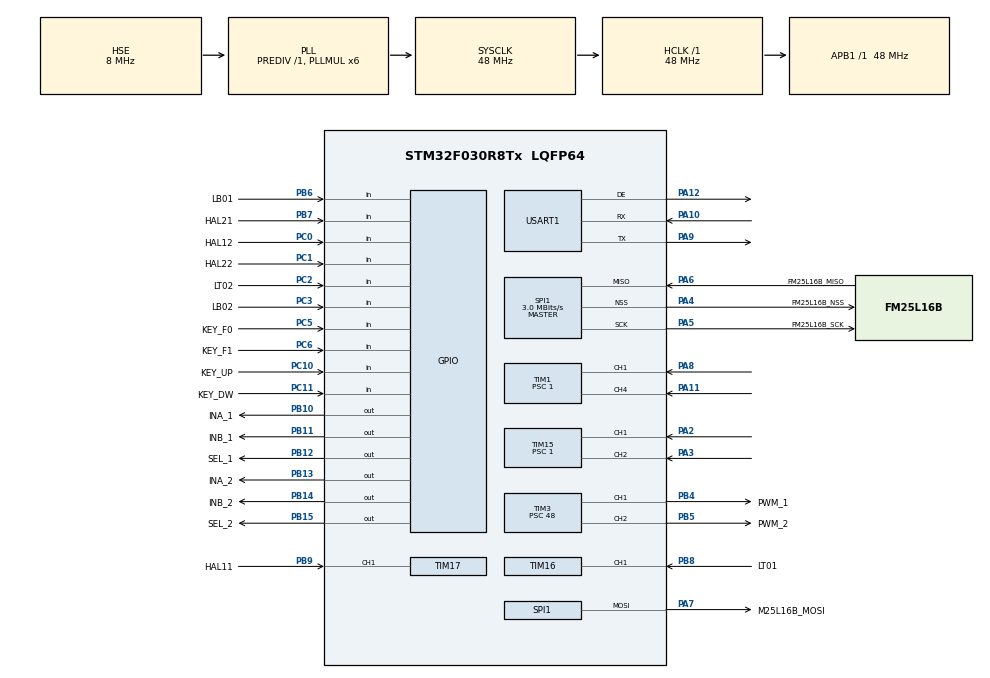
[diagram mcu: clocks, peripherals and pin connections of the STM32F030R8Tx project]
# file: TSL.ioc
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Mcu.Family=STM32F0
Mcu.Name=STM32F030R8Tx
Mcu.Package=LQFP64
NVIC.RCC_IRQn=true\:0\:0\:false\:false\:true\:true\:false
NVIC.TIM14_IRQn=true\:0\:0\:false\:false\:true\:true\:true
NVIC.TIM15_IRQn=true\:0\:0\:false\:false\:true\:true\:true
NVIC.TIM16_IRQn=true\:0\:0\:false\:false\:true\:true\:true
NVIC.TIM17_IRQn=true\:0\:0\:false\:false\:true\:true\:true
NVIC.TIM1_CC_IRQn=true\:0\:0\:false\:false\:true\:true\:true
NVIC.TIM3_IRQn=true\:0\:0\:false\:false\:true\:true\:true
NVIC.TIM6_IRQn=true\:0\:0\:false\:false\:true\:true\:true
PA10.Mode=Asynchronous
PA10.Signal=USART1_RX
PA11.Signal=S_TIM1_CH4
PA12.Mode=Hardware Flow Control (RS485)
PA12.Signal=USART1_DE
PA13.Mode=Serial_Wire
PA13.Signal=SYS_SWDIO
PA14.Mode=Serial_Wire
PA14.Signal=SYS_SWCLK
PA2.Signal=S_TIM15_CH1
PA3.Signal=S_TIM15_CH2
PA4.GPIO_Label=FM25L16B_NSS
PA4.Mode=NSS_Signal_Hard_Output
PA4.Signal=SPI1_NSS
PA5.GPIO_Label=FM25L16B_SCK
PA5.Mode=Full_Duplex_Master
PA5.Signal=SPI1_SCK
PA6.GPIO_Label=FM25L16B_MISO
PA6.Mode=Full_Duplex_Master
PA6.Signal=SPI1_MISO
PA7.GPIO_Label=M25L16B_MOSI
PA7.Mode=Full_Duplex_Master
PA7.Signal=SPI1_MOSI
PA8.Signal=S_TIM1_CH1
PA9.Mode=Asynchronous
PA9.Signal=USART1_TX
PB10.GPIO_Label=INA_1
PB10.Signal=GPIO_Output
PB11.GPIO_Label=INB_1
PB11.Signal=GPIO_Output
PB12.GPIO_Label=SEL_1
PB12.Signal=GPIO_Output
PB13.GPIO_Label=INA_2
PB13.Signal=GPIO_Output
PB14.GPIO_Label=INB_2
PB14.Signal=GPIO_Output
PB15.GPIO_Label=SEL_2
PB15.Signal=GPIO_Output
PB4.GPIO_Label=PWM_1
PB4.Signal=S_TIM3_CH1
PB5.GPIO_Label=PWM_2
PB5.Signal=S_TIM3_CH2
PB6.GPIO_Label=LB01
PB6.Signal=GPIO_Input
PB7.GPIO_Label=HAL21
PB7.Signal=GPIO_Input
PB8.GPIO_Label=LT01
PB8.Signal=S_TIM16_CH1
PB9.GPIO_Label=HAL11
PB9.Signal=S_TIM17_CH1
PC0.GPIO_Label=HAL12
PC0.Signal=GPIO_Input
PC1.GPIO_Label=HAL22
PC1.Signal=GPIO_Input
PC10.GPIO_Label=KEY_UP
PC10.Signal=GPIO_Input
PC11.GPIO_Label=KEY_DW
PC11.Signal=GPIO_Input
PC2.GPIO_Label=LT02
PC2.Signal=GPIO_Input
PC3.GPIO_Label=LB02
PC3.Signal=GPIO_Input
PC5.GPIO_Label=KEY_F0
PC5.Signal=GPIO_Input
PC6.GPIO_Label=KEY_F1
PC6.Signal=GPIO_Input
PF0-OSC_IN.Mode=HSE-External-Oscillator
PF0-OSC_IN.Signal=RCC_OSC_IN
PF1-OSC_OUT.Mode=HSE-External-Oscillator
PF1-OSC_OUT.Signal=RCC_OSC_OUT
ProjectManager.HeapSize=0x200
ProjectManager.StackSize=0x400
ProjectManager.TargetToolchain=STM32CubeIDE
RCC.AHBFreq_Value=48000000
RCC.APB1Freq_Value=48000000
RCC.APB1TimFreq_Value=48000000
RCC.HCLKFreq_Value=48000000
RCC.PLLMUL=RCC_PLL_MUL6
RCC.PLLSourceVirtual=RCC_PLLSOURCE_HSE
RCC.SYSCLKFreq_VALUE=48000000
RCC.SYSCLKSource=RCC_SYSCLKSOURCE_PLLCLK
SH.S_TIM15_CH1.0=TIM15_CH1,Input_Capture1_from_TI1
SH.S_TIM15_CH2.0=TIM15_CH2,Input_Capture2_from_TI2
SH.S_TIM16_CH1.0=TIM16_CH1,Input_Capture1_from_TI1
SH.S_TIM17_CH1.0=TIM17_CH1,Input_Capture1_from_TI1
SH.S_TIM1_CH1.0=TIM1_CH1,Input_Capture1_from_TI1
SH.S_TIM1_CH4.0=TIM1_CH4,Input_Capture4_from_TI4
SH.S_TIM3_CH1.0=TIM3_CH1,PWM Generation1 CH1
SH.S_TIM3_CH2.0=TIM3_CH2,PWM Generation2 CH2
SPI1.BaudRatePrescaler=SPI_BAUDRATEPRESCALER_16
SPI1.CalculateBaudRate=3.0 MBits/s
SPI1.Direction=SPI_DIRECTION_2LINES
SPI1.Mode=SPI_MODE_MASTER
SPI1.VirtualNSS=VM_NSSHARD
SPI1.VirtualType=VM_MASTER
TIM1.Channel-Input_Capture1_from_TI1=TIM_CHANNEL_1
TIM1.Channel-Input_Capture4_from_TI4=TIM_CHANNEL_4
TIM1.Period=65535
TIM1.Prescaler=1
TIM14.Period=10-1
TIM14.Prescaler=48
TIM15.Channel-Input_Capture1_from_TI1=TIM_CHANNEL_1
TIM15.Channel-Input_Capture2_from_TI2=TIM_CHANNEL_2
TIM15.Period=65535
TIM15.Prescaler=1
TIM16.Channel=TIM_CHANNEL_1
TIM16.Period=65535
TIM16.Prescaler=1
TIM17.Channel=TIM_CHANNEL_1
TIM17.Period=65535
TIM17.Prescaler=1
TIM3.Channel-PWM\ Generation1\ CH1=TIM_CHANNEL_1
TIM3.Channel-PWM\ Generation2\ CH2=TIM_CHANNEL_2
TIM3.OCFastMode_PWM-PWM\ Generation1\ CH1=TIM_OCFAST_DISABLE
TIM3.OCFastMode_PWM-PWM\ Generation2\ CH2=TIM_OCFAST_DISABLE
TIM3.OCMode_PWM-PWM\ Generation1\ CH1=TIM_OCMODE_PWM1
TIM3.OCMode_PWM-PWM\ Generation2\ CH2=TIM_OCMODE_PWM1
TIM3.OCPolarity_1=TIM_OCPOLARITY_LOW
TIM3.OCPolarity_2=TIM_OCPOLARITY_LOW
TIM3.Period=100-1
TIM3.Prescaler=48
TIM6.AutoReloadPreload=TIM_AUTORELOAD_PRELOAD_DISABLE
TIM6.Period=100-1
TIM6.Prescaler=48
USART1.VirtualMode-Asynchronous=VM_ASYNC
USART1.VirtualMode-Hardware\ Flow\ Control\ (RS485)=VM_ASYNC
VP_TIM14_VS_ClockSourceINT.Mode=Enable_Timer
VP_TIM16_VS_ClockSourceINT.Mode=Enable_Timer
VP_TIM17_VS_ClockSourceINT.Mode=Enable_Timer
VP_TIM3_VS_ClockSourceITR.Mode=TriggerSource_ITR0
VP_TIM6_VS_ClockSourceINT.Mode=Enable_Timer
board=custom

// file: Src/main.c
/* USER CODE BEGIN Header */
/**
  ******************************************************************************
  * @file           : main.c
  * @brief          : Main program body
  ******************************************************************************
  * @attention
  *
  * <h2><center>&copy; Copyright (c) 2020 STMicroelectronics.
  * All rights reserved.</center></h2>
  *
  * This software component is licensed by ST under BSD 3-Clause license,
  * the "License"; You may not use this file except in compliance with the
  * License. You may obtain a copy of the License at:
  *                        opensource.org/licenses/BSD-3-Clause
  *
  ******************************************************************************
  */
/* USER CODE END Header */

#include "main.h"
#include "spi.h"
#include "tim.h"
#include "usart.h"
#include "gpio.h"

/* USER CODE BEGIN Includes */
#include "global.h"
#include "initial_parameter.h"
#include "driver_Input.h"
#include "driver_Output.h"
#include "function.h"
#include "MODBUS.h"
/* USER CODE END Includes */

void SystemClock_Config(void);

/* USER CODE BEGIN 0 */

void user_pwm_setvalue(uint16_t value, uint16_t channel)
{
    TIM_OC_InitTypeDef sConfigOC;

    sConfigOC.OCMode = TIM_OCMODE_PWM1;
    sConfigOC.Pulse = value;
    sConfigOC.OCPolarity = TIM_OCPOLARITY_HIGH;
    sConfigOC.OCFastMode = TIM_OCFAST_DISABLE;
    HAL_TIM_PWM_ConfigChannel(&htim3, &sConfigOC, !channel? TIM_CHANNEL_1 : TIM_CHANNEL_2);
    HAL_TIM_PWM_Start(&htim3,  !channel? TIM_CHANNEL_1 : TIM_CHANNEL_2);
}

uint32_t count;
/* USER CODE END 0 */

int main(void)
{

  /* MCU Configuration--------------------------------------------------------*/

  /* Reset of all peripherals, Initializes the Flash interface and the Systick. */
  HAL_Init();

  /* Configure the system clock */
  SystemClock_Config();

  /* Initialize all configured peripherals */
  MX_GPIO_Init();
  MX_SPI1_Init();
  MX_TIM3_Init();
  MX_USART1_UART_Init();
  MX_TIM6_Init();
  MX_TIM14_Init();
  MX_TIM1_Init();
  MX_TIM15_Init();
  MX_TIM16_Init();
  MX_TIM17_Init();
  /* USER CODE BEGIN 2 */

  HAL_Delay(1000);
//  HAL_TIM_Base_Start_IT(&htim1);
  HAL_TIM_Base_Start_IT(&htim3);
  HAL_TIM_Base_Start_IT(&htim6);
  HAL_TIM_Base_Start_IT(&htim14);

//  HAL_TIM_Base_Start_IT(&htim16);
  HAL_TIM_IC_Start_IT(&htim16, TIM_CHANNEL_1);

//  HAL_TIM_Base_Start_IT(&htim17);
  HAL_TIM_IC_Start_IT(&htim17, TIM_CHANNEL_1);

  __HAL_UART_ENABLE_IT(&huart1, UART_IT_RXNE);
  while (HAL_UART_Receive_IT(&huart1, (uint8_t *)&rxBuffer_modbus1, 1)!= HAL_OK)
  {
	  Error_Handler();
  }

  Reset_default_position();

  /* USER CODE END 2 */

  /* Infinite loop */
  /* USER CODE BEGIN WHILE */
//  nValue.pwmValue[0] = 100;
//  nValue.pwmValue[1] = 100;
//  nValue.Step[0] = 1;
//  nValue.Step[1] = 1;
  while (1)
  {
		run_Input();
//		run();
		run_motor(0);
		run_motor(1);

#ifdef TEST_PULSE
		if(nValue.pwmValue[0]>=100){
			nValue.Step[0] = -1;
		}
		else if(nValue.pwmValue[0]<=1){
			nValue.Step[0] = 1;
			sOutput.bit.Out_B1 = sOutput.bit.Out_B1? 0 : 1;
			sOutput.bit.Out_B2 = sOutput.bit.Out_B2? 0 : 1;
			sOutput.bit.Out_A1 = sOutput.bit.Out_B1? 0 : 1;
			sOutput.bit.Out_A2 = sOutput.bit.Out_B2? 0 : 1;
		}

		nValue.pwmValue[0] += nValue.Step[0];
#endif
//		user_pwm_setvalue(nValue.pwmValue[0], 0);
//		user_pwm_setvalue(nValue.pwmValue[0], 1);
		run_Output(&sOutput);
	 HAL_Delay(50);
    /* USER CODE END WHILE */

  }
}

void SystemClock_Config(void)
{
  RCC_OscInitTypeDef RCC_OscInitStruct = {0};
  RCC_ClkInitTypeDef RCC_ClkInitStruct = {0};
  RCC_PeriphCLKInitTypeDef PeriphClkInit = {0};

  /** Initializes the CPU, AHB and APB busses clocks
  */
  RCC_OscInitStruct.OscillatorType = RCC_OSCILLATORTYPE_HSE;
  RCC_OscInitStruct.HSEState = RCC_HSE_ON;
  RCC_OscInitStruct.PLL.PLLState = RCC_PLL_ON;
  RCC_OscInitStruct.PLL.PLLSource = RCC_PLLSOURCE_HSE;
  RCC_OscInitStruct.PLL.PLLMUL = RCC_PLL_MUL6;
  RCC_OscInitStruct.PLL.PREDIV = RCC_PREDIV_DIV1;
  if (HAL_RCC_OscConfig(&RCC_OscInitStruct) != HAL_OK)
  {
    Error_Handler();
  }
  /** Initializes the CPU, AHB and APB busses clocks
  */
  RCC_ClkInitStruct.ClockType = RCC_CLOCKTYPE_HCLK|RCC_CLOCKTYPE_SYSCLK
                              |RCC_CLOCKTYPE_PCLK1;
  RCC_ClkInitStruct.SYSCLKSource = RCC_SYSCLKSOURCE_PLLCLK;
  RCC_ClkInitStruct.AHBCLKDivider = RCC_SYSCLK_DIV1;
  RCC_ClkInitStruct.APB1CLKDivider = RCC_HCLK_DIV1;

  if (HAL_RCC_ClockConfig(&RCC_ClkInitStruct, FLASH_LATENCY_1) != HAL_OK)
  {
    Error_Handler();
  }
  PeriphClkInit.PeriphClockSelection = RCC_PERIPHCLK_USART1;
  PeriphClkInit.Usart1ClockSelection = RCC_USART1CLKSOURCE_PCLK1;
  if (HAL_RCCEx_PeriphCLKConfig(&PeriphClkInit) != HAL_OK)
  {
    Error_Handler();
  }
}

void Error_Handler(void)
{
}

/************************ (C) COPYRIGHT STMicroelectronics *****END OF FILE****/
